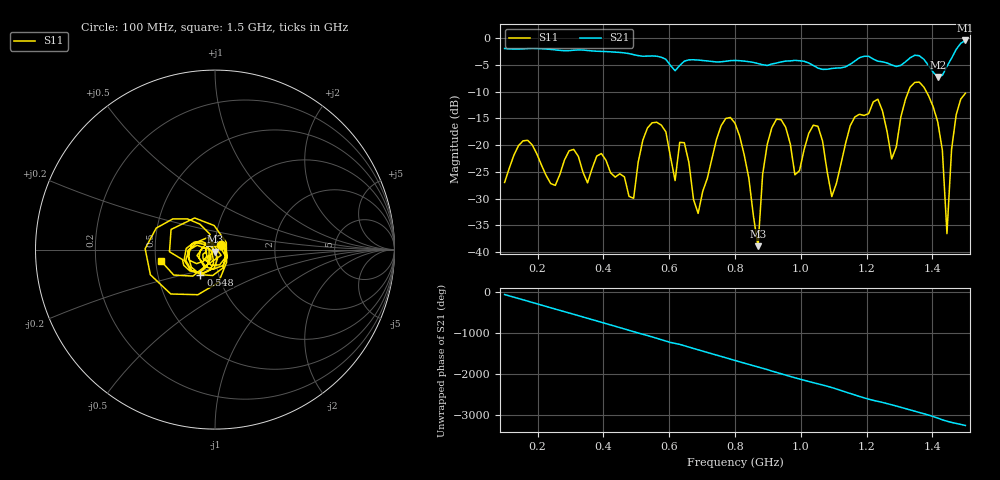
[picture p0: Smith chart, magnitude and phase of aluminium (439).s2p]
! NanoVNA-App
! Date: 2025-09-25 14:58:42
! Start: 100MHz Stop: 1,5GHz Points: 101
! S-Parameter data: F S11 S21 S12 S22
# Hz S RI R 50
!  Frequency  S11_Real  S11_Imag  S21_Real  S21_Imag  S12_Real  S12_Imag  S22_Real  S22_Imag
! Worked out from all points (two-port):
!   101 points, 100 MHz to 1.5 GHz, reference 50 ohm
!   highest |S21| = -0.41 dB at 1.5 GHz (marker M1); lowest = -7.2 dB at 1.416 GHz (marker M2)
!   |S21| within 3 dB of the highest: start of sweep to 566.2 MHz; 1.461 GHz to end of sweep (the widest 2 of 4)
!   lowest |S11| = -38.9 dB at 870 MHz (marker M3), VSWR 1.02, Z = 50.2 - j1.13 ohm
!   |S11| at or under -10 dB: start of sweep to 1.327 GHz; 1.382 GHz to end of sweep
!   S12 and S22 are empty: the file has one direction only
!   S11 on the Smith chart (normalised r, x): 100 MHz: 1.07, +0.06; 548 MHz: 0.82, -0.24; 1.5 GHz: 0.54, -0.08
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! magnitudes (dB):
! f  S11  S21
! 100 MHz  -27.0  -1.9
! 156 MHz  -19.2  -2.0
! 338 MHz  -25.0  -2.2
! 492 MHz  -29.9  -3.1
! 548 MHz  -15.8  -3.3
! 576 MHz  -16.2  -3.5
! 618 MHz  -26.6  -6.1
! 646 MHz  -19.5  -4.3
! 688 MHz  -32.7  -4.1
! 800 MHz  -15.9  -4.2
! 870 MHz  -38.9  -4.7
! 912 MHz  -16.7  -4.8
! 982 MHz  -25.5  -4.1
! 1.038 GHz  -16.3  -5.1
! 1.094 GHz  -29.6  -5.6
! 1.22 GHz  -11.9  -3.9
! 1.276 GHz  -22.6  -5.0
! 1.346 GHz  -8.3  -3.2
! 1.416 GHz  -15.6  -7.2
! 1.444 GHz  -36.5  -5.2
! 1.458 GHz  -20.8  -3.7
! 1.5 GHz  -10.3  -0.4
